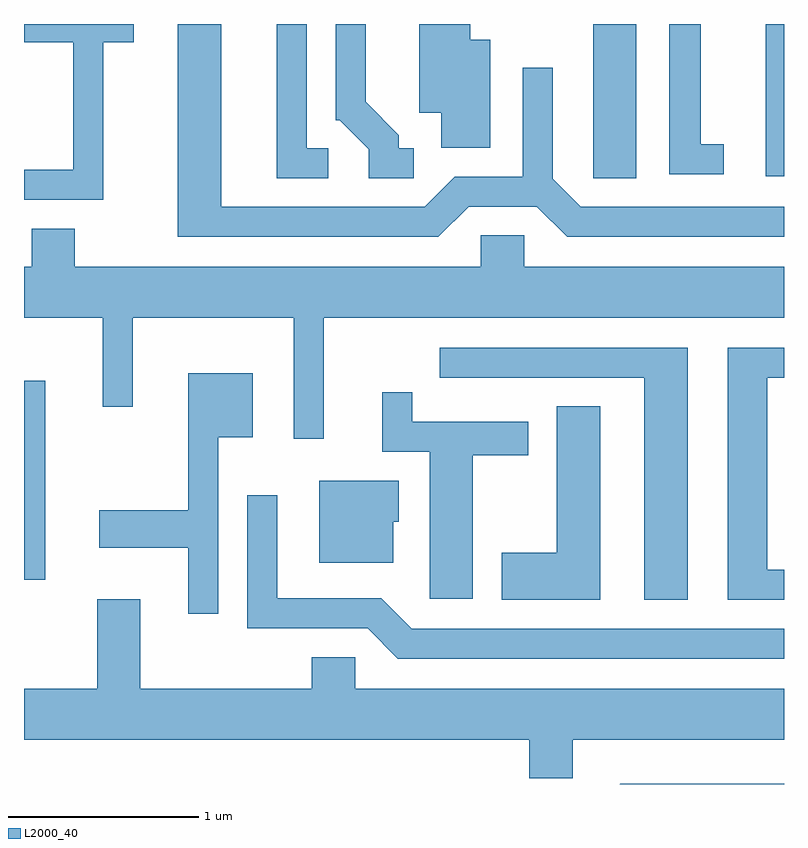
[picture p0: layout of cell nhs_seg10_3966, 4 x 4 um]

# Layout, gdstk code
import gdstk
lib = gdstk.Library(unit=1e-6, precision=1e-09)
def R(c, l, rs):  # rectangles x0, y0, x1, y1
    for r in rs: c.add(gdstk.rectangle(r[:2], r[2:], *l))
def P(c, l, *ps):  # polygons
    for p in ps: c.add(gdstk.Polygon(p, *l))
L2000_40 = (2000, 40)

nhs_seg10_3966 = lib.new_cell('nhs_seg10_3966')
R(nhs_seg10_3966, L2000_40, [(301.611,2163.596,301.724,2164.644), (304.606,2165.711,304.834,2166.522), (305.516,2165.721,305.611,2166.522)])
P(nhs_seg10_3966, L2000_40, [(303.213,2165.869),(303.099,2165.869),(303.099,2166.522),(302.941,2166.522),(302.941,2165.711),(303.213,2165.711)],
  [(302.029,2166.426),(302.189,2166.426),(302.189,2166.522),(301.611,2166.522),(301.611,2166.426),(301.871,2166.426),(301.871,2165.754),(301.611,2165.754),(301.611,2165.596),(302.029,2165.596)],
  [(303.663,2165.869),(303.584,2165.869),(303.584,2165.937),(303.409,2166.112),(303.409,2166.522),(303.251,2166.522),(303.251,2166.016),(303.274,2166.016),(303.426,2165.864),(303.426,2165.711),(303.663,2165.711)],
  [(305.293,2165.889),(305.174,2165.889),(305.174,2166.522),(305.006,2166.522),(305.006,2165.731),(305.293,2165.731)],
  [(303.952,2165.561),(304.309,2165.561),(304.469,2165.401),(305.611,2165.401),(305.611,2165.559),(304.542,2165.559),(304.394,2165.707),(304.394,2166.293),(304.236,2166.293),(304.236,2165.719),(303.879,2165.719),(303.719,2165.559),(302.649,2165.559),(302.649,2166.522),(302.421,2166.522),(302.421,2165.401),(303.792,2165.401)],
  [(304.064,2166.439),(303.959,2166.439),(303.959,2166.522),(303.691,2166.522),(303.691,2166.056),(303.806,2166.056),(303.806,2165.871),(304.064,2165.871)],
  [(303.189,2164.976),(305.611,2164.976),(305.611,2165.244),(304.244,2165.244),(304.244,2165.409),(304.016,2165.409),(304.016,2165.244),(301.879,2165.244),(301.879,2165.444),(301.651,2165.444),(301.651,2165.244),(301.611,2165.244),(301.611,2164.976),(302.026,2164.976),(302.026,2164.508),(302.184,2164.508),(302.184,2164.976),(303.031,2164.976),(303.031,2164.338),(303.189,2164.338)],
  [(305.611,2163.649),(305.524,2163.649),(305.524,2164.661),(305.611,2164.661),(305.611,2164.819),(305.316,2164.819),(305.316,2163.491),(305.611,2163.491)],
  [(305.104,2164.819),(303.798,2164.819),(303.798,2164.661),(304.876,2164.661),(304.876,2163.491),(305.104,2163.491)],
  [(302.634,2164.346),(302.814,2164.346),(302.814,2164.684),(302.476,2164.684),(302.476,2163.964),(302.006,2163.964),(302.006,2163.766),(302.476,2163.766),(302.476,2163.418),(302.634,2163.418)],
  [(303.974,2164.251),(304.264,2164.251),(304.264,2164.429),(303.654,2164.429),(303.654,2164.583),(303.496,2164.583),(303.496,2164.271),(303.746,2164.271),(303.746,2163.496),(303.974,2163.496)],
  [(304.644,2164.509),(304.416,2164.509),(304.416,2163.739),(304.126,2163.739),(304.126,2163.491),(304.644,2163.491)],
  [(303.554,2163.901),(303.584,2163.901),(303.584,2164.119),(303.166,2164.119),(303.166,2163.686),(303.554,2163.686)],
  [(305.611,2163.339),(303.652,2163.339),(303.492,2163.499),(302.944,2163.499),(302.944,2164.043),(302.786,2164.043),(302.786,2163.341),(303.419,2163.341),(303.579,2163.181),(305.611,2163.181)],
  [(304.499,2162.756),(305.611,2162.756),(305.611,2163.024),(303.354,2163.024),(303.354,2163.189),(303.126,2163.189),(303.126,2163.024),(302.224,2163.024),(302.224,2163.494),(301.996,2163.494),(301.996,2163.024),(301.611,2163.024),(301.611,2162.756),(304.271,2162.756),(304.271,2162.551),(304.499,2162.551)],
  [(305.611,2162.524),(304.749,2162.524),(304.747,2162.522),(305.611,2162.522)])

lib.write_gds('nhs_seg10_3966.gds')
